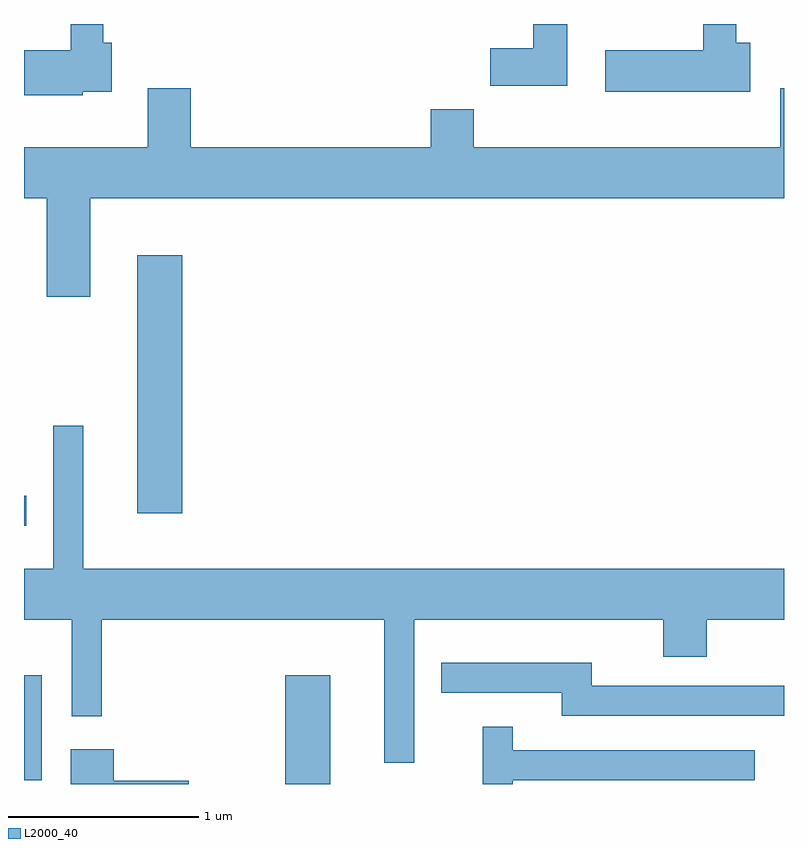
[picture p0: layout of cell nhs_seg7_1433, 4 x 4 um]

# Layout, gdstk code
import gdstk
lib = gdstk.Library(unit=1e-6, precision=1e-09)
def R(c, l, rs):  # rectangles x0, y0, x1, y1
    for r in rs: c.add(gdstk.rectangle(r[:2], r[2:], *l))
def P(c, l, *ps):  # polygons
    for p in ps: c.add(gdstk.Polygon(p, *l))
L2000_40 = (2000, 40)

nhs_seg7_1433 = lib.new_cell('nhs_seg7_1433')
R(nhs_seg7_1433, L2000_40, [(228.986,1802.252,229.224,1802.824), (227.611,1802.271,227.704,1802.824), (227.611,1803.611,227.623,1803.769), (228.206,1803.676,228.444,1805.034)])
P(nhs_seg7_1433, L2000_40, [(231.434,1806.154),(231.359,1806.154),(231.359,1806.252),(231.186,1806.252),(231.186,1806.114),(230.671,1806.114),(230.671,1805.896),(231.434,1805.896)],
  [(227.919,1805.896),(228.074,1805.896),(228.074,1806.154),(228.029,1806.154),(228.029,1806.252),(227.856,1806.252),(227.856,1806.114),(227.611,1806.114),(227.611,1805.876),(227.919,1805.876)],
  [(230.469,1806.252),(230.291,1806.252),(230.291,1806.124),(230.066,1806.124),(230.066,1805.926),(230.469,1805.926)],
  [(231.611,1805.914),(231.591,1805.914),(231.591,1805.604),(229.979,1805.604),(229.979,1805.804),(229.751,1805.804),(229.751,1805.604),(228.489,1805.604),(228.489,1805.914),(228.261,1805.914),(228.261,1805.604),(227.611,1805.604),(227.611,1805.336),(227.731,1805.336),(227.731,1804.816),(227.959,1804.816),(227.959,1805.336),(231.611,1805.336)],
  [(229.664,1803.116),(230.976,1803.116),(230.976,1802.921),(231.204,1802.921),(231.204,1803.116),(231.611,1803.116),(231.611,1803.384),(227.924,1803.384),(227.924,1804.138),(227.766,1804.138),(227.766,1803.384),(227.611,1803.384),(227.611,1803.116),(227.861,1803.116),(227.861,1802.608),(228.019,1802.608),(228.019,1803.116),(229.506,1803.116),(229.506,1802.363),(229.664,1802.363)],
  [(231.611,1802.769),(230.599,1802.769),(230.599,1802.889),(229.808,1802.889),(229.808,1802.731),(230.441,1802.731),(230.441,1802.611),(231.611,1802.611)],
  [(230.184,1802.271),(231.458,1802.271),(231.458,1802.429),(230.184,1802.429),(230.184,1802.553),(230.026,1802.553),(230.026,1802.252),(230.184,1802.252)],
  [(228.479,1802.269),(228.084,1802.269),(228.084,1802.434),(227.856,1802.434),(227.856,1802.252),(228.479,1802.252)])

lib.write_gds('nhs_seg7_1433.gds')
